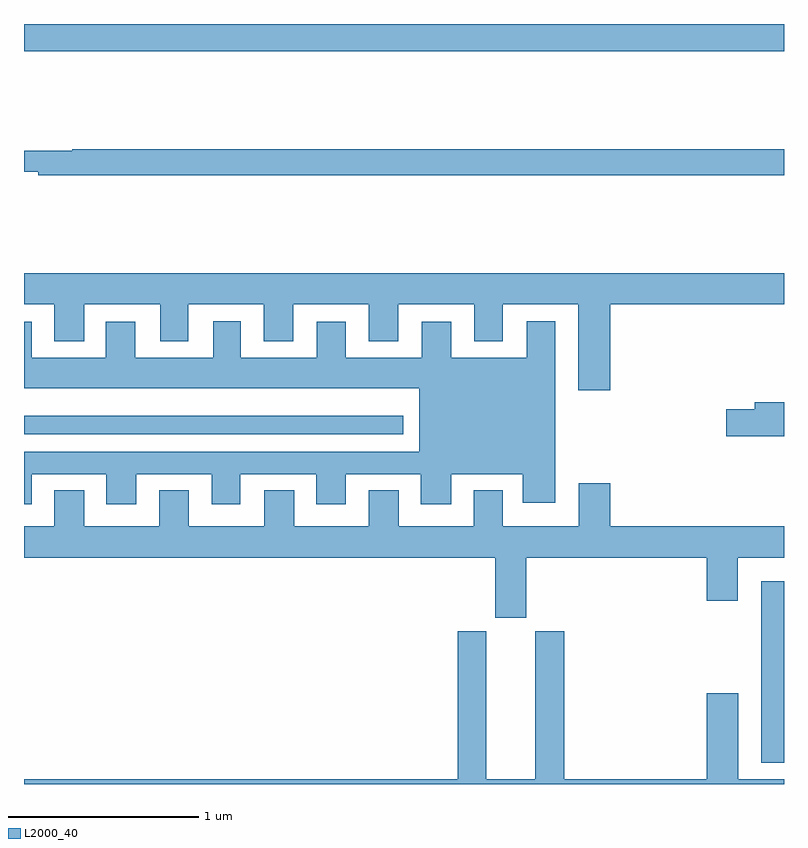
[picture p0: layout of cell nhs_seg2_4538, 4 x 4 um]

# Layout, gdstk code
import gdstk
lib = gdstk.Library(unit=1e-6, precision=1e-09)
def R(c, l, rs):  # rectangles x0, y0, x1, y1
    for r in rs: c.add(gdstk.rectangle(r[:2], r[2:], *l))
def P(c, l, *ps):  # polygons
    for p in ps: c.add(gdstk.Polygon(p, *l))
L2000_40 = (2000, 40)

nhs_seg2_4538 = lib.new_cell('nhs_seg2_4538')
R(nhs_seg2_4538, L2000_40, [(360.881,623.913,361,624.868), (357,625.641,358.996,625.738), (357,627.656,361,627.8)])
P(nhs_seg2_4538, L2000_40, [(361,627.14),(357.254,627.14),(357.254,627.133),(357,627.133),(357,627.023),(357.076,627.023),(357.076,627.004),(361,627.004)],
  [(360.086,626.324),(361,626.324),(361,626.488),(357,626.488),(357,626.324),(357.158,626.324),(357.158,626.13),(357.316,626.13),(357.316,626.324),(357.716,626.324),(357.716,626.13),(357.865,626.13),(357.865,626.324),(358.262,626.324),(358.262,626.13),(358.417,626.13),(358.417,626.324),(358.814,626.324),(358.814,626.13),(358.969,626.13),(358.969,626.324),(359.369,626.324),(359.369,626.13),(359.521,626.13),(359.521,626.324),(359.918,626.324),(359.918,625.872),(360.086,625.872)],
  [(357.04,625.43),(357.434,625.43),(357.434,625.272),(357.592,625.272),(357.592,625.43),(357.989,625.43),(357.989,625.272),(358.138,625.272),(358.138,625.43),(358.538,625.43),(358.538,625.272),(358.693,625.272),(358.693,625.43),(359.087,625.43),(359.087,625.272),(359.248,625.272),(359.248,625.43),(359.624,625.43),(359.624,625.28),(359.797,625.28),(359.797,626.236),(359.645,626.236),(359.645,626.044),(359.248,626.044),(359.248,626.233),(359.093,626.233),(359.093,626.044),(358.693,626.044),(358.693,626.233),(358.541,626.233),(358.541,626.044),(358.141,626.044),(358.141,626.236),(357.995,626.236),(357.995,626.044),(357.586,626.044),(357.586,626.233),(357.431,626.233),(357.431,626.044),(357.04,626.044),(357.04,626.233),(357,626.233),(357,625.883),(359.081,625.883),(359.081,625.549),(357,625.549),(357,625.272),(357.04,625.272)],
  [(361,625.808),(360.845,625.808),(360.845,625.772),(360.696,625.772),(360.696,625.63),(361,625.63)],
  [(359.644,624.992),(360.593,624.992),(360.593,624.765),(360.757,624.765),(360.757,624.992),(361,624.992),(361,625.156),(360.086,625.156),(360.086,625.384),(359.921,625.384),(359.921,625.156),(359.521,625.156),(359.521,625.345),(359.366,625.345),(359.366,625.156),(358.972,625.156),(358.972,625.345),(358.814,625.345),(358.814,625.156),(358.423,625.156),(358.423,625.345),(358.265,625.345),(358.265,625.156),(357.868,625.156),(357.868,625.345),(357.713,625.345),(357.713,625.156),(357.316,625.156),(357.316,625.345),(357.158,625.345),(357.158,625.156),(357,625.156),(357,624.992),(359.48,624.992),(359.48,624.675),(359.644,624.675)],
  [(361,623.824),(360.76,623.824),(360.76,624.277),(360.593,624.277),(360.593,623.824),(359.843,623.824),(359.843,624.603),(359.69,624.603),(359.69,623.824),(359.434,623.824),(359.434,624.603),(359.282,624.603),(359.282,623.824),(357,623.824),(357,623.8),(361,623.8)])

lib.write_gds('nhs_seg2_4538.gds')
